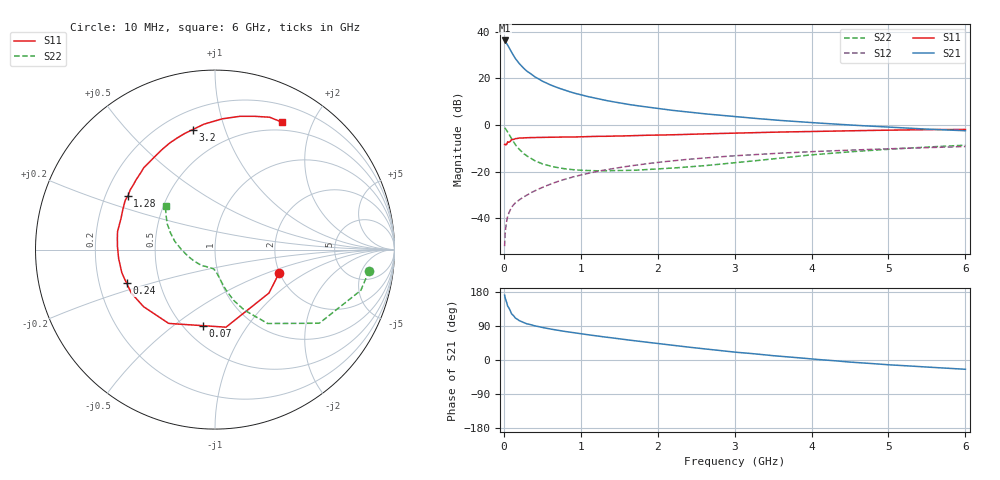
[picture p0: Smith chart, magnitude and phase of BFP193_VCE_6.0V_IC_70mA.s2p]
! Infineon Technologies  Discrete & RF Semiconductors
! BFP193
! VCE = 6.0 V,  IC =  70 mA
! Common Emitter S-Parameters:  Jan 2016
# GHz  S  MA  R  50
!  f  S11  S21  S12  S22
! GHz  MAG  ANG  MAG  ANG  MAG  ANG  MAG  ANG
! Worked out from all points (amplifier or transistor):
!   210 points, 10 MHz to 6 GHz, reference 50 ohm
!   highest |S21| = 36.3 dB at 10 MHz (marker M1)
!   |S21| within 3 dB of that: start of sweep to 66.38 MHz
!   unconditionally stable (mu >= 1): 471.4 MHz to 4.151 GHz
!   at 185 MHz: K = 0.72, MSG = 29.8 dB, |S12| = -32.5 dB
!   at 1.52 GHz: K = 1.07, MAG = 12.1 dB, |S12| = -18.2 dB
!   at 6 GHz: K = 0.95, MSG = 3.4 dB, |S12| = -9.2 dB
!   S11 on the Smith chart (normalised r, x): 10 MHz: 1.98, -0.61; 70 MHz: 0.62, -0.64; 240 MHz: 0.32, -0.17; 1.28 GHz: 0.29, +0.26; 3.2 GHz: 0.31, +0.78; 6 GHz: 0.40, +1.58
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0.01  0.3803 -20.4  65.41 171.2  0.0025 80.6  0.8667 -7.8
0.02  0.3859 -38.8  62.12 162.0  0.0053 79.0  0.8438 -15.6
0.05  0.4366 -81.9  51.97 142.1  0.011 64.5  0.7115 -35.2
0.07  0.429 -98.9  45.12 135.7  0.0134 61.3  0.6214 -41.4
0.1  0.4854 -122.1  36.37 122.0  0.0171 58.3  0.5057 -54.5
0.15  0.5095 -141.4  26.69 110.6  0.0214 56.0  0.3764 -64.0
0.2  0.5254 -152.5  20.92 103.9  0.0247 56.5  0.3013 -69.8
0.24  0.5271 -159.2  17.75 100.1  0.0273 58.2  0.2589 -72.6
0.3  0.5349 -166.2  14.32 95.5  0.0312 60.2  0.2169 -76.1
0.4  0.5392 -174.8  10.91 90.2  0.0385 62.8  0.1719 -79.7
0.5  0.5433 179.2  8.747 85.8  0.0455 64.2  0.1463 -82.7
0.6  0.5472 174.1  7.324 81.9  0.0534 65.1  0.1316 -85.6
0.7  0.5522 169.5  6.312 78.3  0.061 65.2  0.1215 -88.0
0.9  0.5516 161.8  4.915 72.2  0.0767 64.4  0.1093 -93.2
1.02  0.5588 157.0  4.37 68.8  0.0857 63.5  0.1065 -96.4
1.28  0.5702 148.6  3.494 61.6  0.1057 61.1  0.1035 -104.6
2.02  0.6082 127.6  2.238 43.2  0.1585 52.2  0.1147 -130.6
3.1  0.6743 102.5  1.466 19.2  0.2233 38.1  0.1603 -169.3
3.2  0.68 100.5  1.419 17.4  0.2284 36.8  0.1664 -172.4
4.1  0.7339 85.3  1.099 1.1  0.2723 26.0  0.2356 166.3
5.1  0.7788 72.2  0.884 -13.7  0.3122 14.8  0.3084 150.1
6  0.8019 62.3  0.753 -24.5  0.3451 5.3  0.3684 138.2
